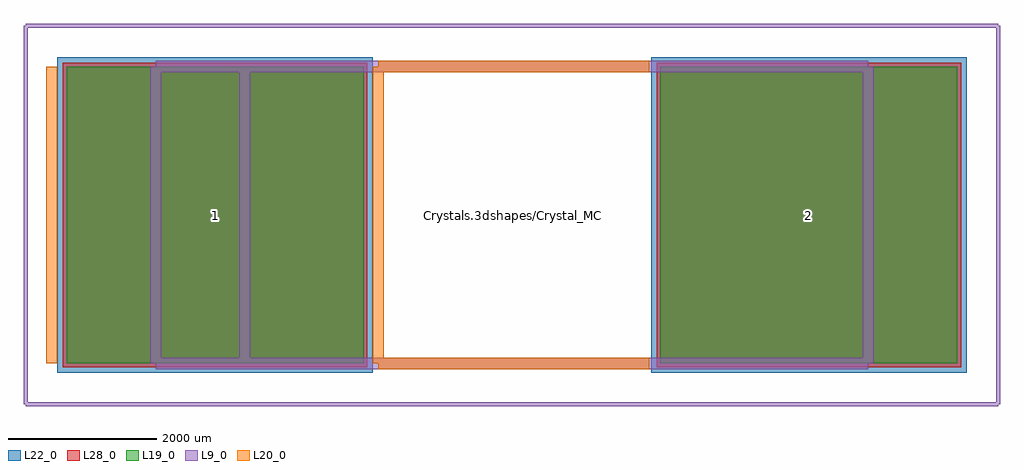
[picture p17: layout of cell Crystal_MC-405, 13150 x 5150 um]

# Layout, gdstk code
import gdstk
lib = gdstk.Library(unit=1e-6, precision=1e-09)
def R(c, l, rs):  # rectangles x0, y0, x1, y1
    for r in rs: c.add(gdstk.rectangle(r[:2], r[2:], *l))
L9_0 = (9, 0)
L19_0 = (19, 0)
L20_0 = (20, 0)
L22_0 = (22, 0)
L28_0 = (28, 0)

crystal_mc_405 = lib.new_cell('Crystal_MC-405')
R(crystal_mc_405, L19_0, [(-6000,-2000,-2000,2000), (2000,-2000,6000,2000)])
R(crystal_mc_405, L22_0, [(-6125,-2125,-1875,2125), (1875,-2125,6125,2125)])
R(crystal_mc_405, L28_0, [(-6050,-2050,-1950,2050), (1950,-2050,6050,2050)])
crystal_mc_405.add(gdstk.FlexPath([(-4800,-2000),(4800,-2000)], 149.998, ends="flush", simple_path=True, layer=9, datatype=0))  # L9_0
crystal_mc_405.add(gdstk.FlexPath([(4800,2000),(-4800,2000)], 149.998, ends="flush", simple_path=True, layer=9, datatype=0))  # L9_0
crystal_mc_405.add(gdstk.FlexPath([(-4800,-2000),(-4800,2000)], 149.998, ends="flush", simple_path=True, layer=9, datatype=0))  # L9_0
crystal_mc_405.add(gdstk.FlexPath([(4800,2000),(4800,-2000)], 149.998, ends="flush", simple_path=True, layer=9, datatype=0))  # L9_0
crystal_mc_405.add(gdstk.FlexPath([(-1800,-2000),(-1800,2000)], 149.998, ends="flush", simple_path=True, layer=20, datatype=0))  # L20_0
crystal_mc_405.add(gdstk.FlexPath([(-6550,-2550),(-6550,2550)], 50, ends="flush", simple_path=True, layer=9, datatype=0))  # L9_0
crystal_mc_405.add(gdstk.FlexPath([(6550,-2550),(-6550,-2550)], 50, ends="flush", simple_path=True, layer=9, datatype=0))  # L9_0
crystal_mc_405.add(gdstk.FlexPath([(6550,2550),(6550,-2550)], 50, ends="flush", simple_path=True, layer=9, datatype=0))  # L9_0
crystal_mc_405.add(gdstk.FlexPath([(-6550,2550),(6550,2550)], 50, ends="flush", simple_path=True, layer=9, datatype=0))  # L9_0
crystal_mc_405.add(gdstk.FlexPath([(-3600,2000),(-3600,-2000)], 149.998, ends="flush", simple_path=True, layer=9, datatype=0))  # L9_0
crystal_mc_405.add(gdstk.FlexPath([(-1800,2000),(1850,2000)], 149.998, ends="flush", simple_path=True, layer=20, datatype=0))  # L20_0
crystal_mc_405.add(gdstk.FlexPath([(-1800,-2000),(1850,-2000)], 149.998, ends="flush", simple_path=True, layer=20, datatype=0))  # L20_0
crystal_mc_405.add(gdstk.FlexPath([(-6200,2000),(-6200,-2000)], 149.998, ends="flush", simple_path=True, layer=20, datatype=0))  # L20_0
crystal_mc_405.add(gdstk.Label('Crystals.3dshapes/Crystal_MC-405.wrl', (0,0), layer=12, texttype=0))
crystal_mc_405.add(gdstk.Label('2', (4000,0), layer=28, texttype=0))
crystal_mc_405.add(gdstk.Label('1', (-4000,0), layer=28, texttype=0))
crystal_mc_405.add(gdstk.Label('type', (0,-3350), layer=9, texttype=0))
crystal_mc_405.add(gdstk.Label('devicename', (0,3200), layer=9, texttype=0))

lib.write_gds('Crystal_MC-405.gds')
